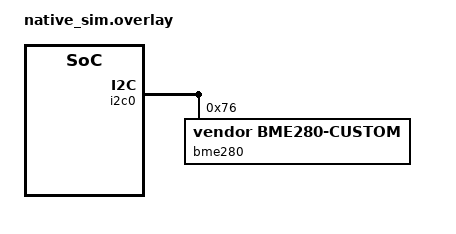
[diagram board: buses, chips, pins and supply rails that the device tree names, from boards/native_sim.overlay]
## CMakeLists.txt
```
# CMakeLists.txt — bme280 ztest suite (native_sim + I2C emulator).

cmake_minimum_required(VERSION 3.20.0)

# Register the in-repo BME280 driver module (firmware/drivers).
list(APPEND ZEPHYR_EXTRA_MODULES ${CMAKE_CURRENT_SOURCE_DIR}/../../drivers)

find_package(Zephyr REQUIRED HINTS $ENV{ZEPHYR_BASE})
project(test_bme280)

target_sources(app PRIVATE src/main.c)

# Expose the driver header (bme280_custom.h) for the compensation known-answer
# tests. The module also adds this include dir globally, but be explicit.
target_include_directories(app PRIVATE ../../drivers/sensor/bme280_custom)
```

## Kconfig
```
# Kconfig — bme280 ztest suite.
# Driver symbols (BME280_CUSTOM*) come from the driver module automatically.

mainmenu "BME280 ztest"

source "Kconfig.zephyr"
```

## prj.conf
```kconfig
# prj.conf — bme280 ztest (native_sim)
CONFIG_ZTEST=y

CONFIG_LOG=y
CONFIG_SENSOR=y
CONFIG_I2C=y
CONFIG_I2C_EMUL=y
CONFIG_EMUL=y

CONFIG_BME280_CUSTOM=y
CONFIG_BME280_CUSTOM_EMUL=y
```

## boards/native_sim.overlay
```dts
/* BME280@0x76 on the native_sim I2C emulator bus (&i2c0) for the driver test. */

&i2c0 {
	status = "okay";

	bme280@76 {
		compatible = "vendor,bme280-custom";
		reg = <0x76>;
		status = "okay";
	};
};
```

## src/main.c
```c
/*
 * main.c — ztest suite for the custom BME280 I2C driver on native_sim.
 *
 * Validates:
 *   1. The driver binds and the (emulated) device is ready.
 *   2. A full I2C round-trip: sample_fetch reads calibration + raw data from
 *      the emulator and channel_get returns the compensated values, which the
 *      emulator fixture makes exactly 25.0 C / 50.0 %RH / 101.325 kPa.
 *   3. The Bosch compensation math against hand-derived known-answer vectors.
 */

#include <math.h>

#include <zephyr/device.h>
#include <zephyr/drivers/sensor.h>
#include <zephyr/ztest.h>

#include "bme280_custom.h"

static const struct device *const bme280 =
	DEVICE_DT_GET_ONE(vendor_bme280_custom);

ZTEST(bme280_tests, test_device_ready)
{
	zassert_true(device_is_ready(bme280), "BME280 device is not ready");
}

ZTEST(bme280_tests, test_sample_fetch_and_channel_get)
{
	struct sensor_value temp;
	struct sensor_value hum;
	struct sensor_value press;

	zassert_ok(sensor_sample_fetch(bme280), "sample_fetch failed");

	zassert_ok(sensor_channel_get(bme280, SENSOR_CHAN_AMBIENT_TEMP, &temp));
	zassert_ok(sensor_channel_get(bme280, SENSOR_CHAN_HUMIDITY, &hum));
	zassert_ok(sensor_channel_get(bme280, SENSOR_CHAN_PRESS, &press));

	double t = sensor_value_to_double(&temp);
	double h = sensor_value_to_double(&hum);
	double p = sensor_value_to_double(&press);

	/* Emulator fixture compensates to these exact values. */
	zassert_true(fabs(t - 25.0) < 0.01, "temperature %.4f != 25.0 C", t);
	zassert_true(fabs(h - 50.0) < 0.01, "humidity %.4f != 50.0 %%RH", h);
	zassert_true(fabs(p - 101.325) < 0.01, "pressure %.4f != 101.325 kPa", p);
}

ZTEST(bme280_tests, test_unsupported_channel_rejected)
{
	struct sensor_value val;

	zassert_ok(sensor_sample_fetch(bme280));
	/* SENSOR_CHAN_VOLTAGE is not provided by this driver. */
	zassert_equal(sensor_channel_get(bme280, SENSOR_CHAN_VOLTAGE, &val),
		      -ENOTSUP, "expected -ENOTSUP for unsupported channel");
}

ZTEST(bme280_tests, test_compensation_known_answer)
{
	struct bme280_calib calib = {0};
	double t_fine;

	/*
	 * Temperature: dig_T1=0, dig_T2=5120, dig_T3=0, adc_T=409600
	 *   var1 = (409600/16384 - 0) * 5120 = 128000
	 *   var2 = 0 (dig_T3 = 0)
	 *   t_fine = 128000, T = 128000/5120 = 25.0 C
	 */
	calib.dig_T2 = 5120;
	double t = bme280_compensate_temperature(409600, &calib, &t_fine);

	zassert_true(fabs(t - 25.0) < 1e-6, "T=%.6f != 25.0", t);
	zassert_true(fabs(t_fine - 128000.0) < 1e-6, "t_fine=%.6f != 128000",
		     t_fine);

	/*
	 * Pressure: dig_P1=6250, all other dig_P=0, adc_P=947251, t_fine=128000
	 *   var1(press) collapses to dig_P1=6250; p = (1048576-947251) = 101325 Pa
	 */
	calib.dig_P1 = 6250;
	double p = bme280_compensate_pressure(947251, &calib, t_fine);

	zassert_true(fabs(p - 101325.0) < 1e-3, "P=%.6f != 101325 Pa", p);

	/*
	 * Humidity: dig_H2=16384, all other dig_H=0, adc_H=200, t_fine=128000
	 *   h = (200 - 0) * (16384/65536) = 200 * 0.25 = 50.0 %RH
	 */
	calib.dig_H2 = 16384;
	double h = bme280_compensate_humidity(200, &calib, t_fine);

	zassert_true(fabs(h - 50.0) < 1e-6, "H=%.6f != 50.0", h);
}

ZTEST_SUITE(bme280_tests, NULL, NULL, NULL, NULL, NULL);
```
